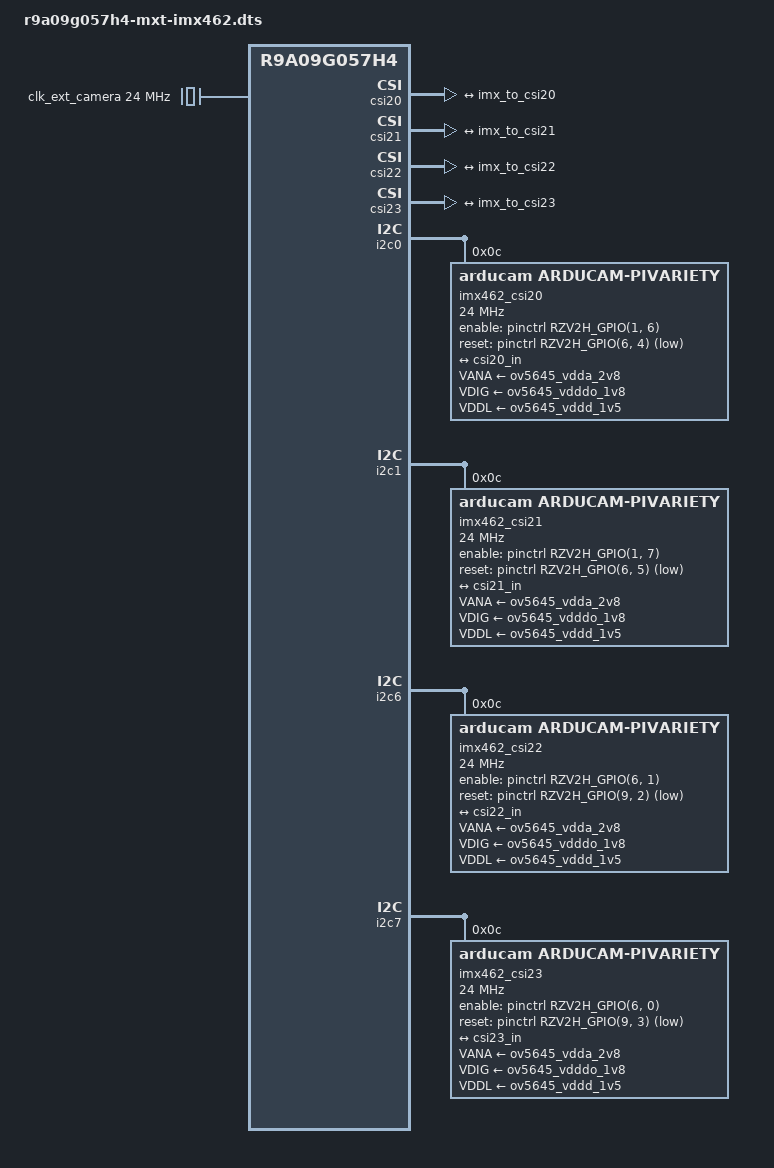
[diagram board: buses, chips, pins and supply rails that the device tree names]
// SPDX-License-Identifier: (GPL-2.0-only OR BSD-2-Clause)
/*
 * Device Tree Source for the RZ/V2H EVK MXT board variant (IMX462 camera)
 *
 * Copyright (C) 2025 Renesas Electronics Corporation
 * Copyright (C) 2024 MXT Creation SRL
 */

/dts-v1/;
#include "rzv2h-evk-ver1.dts"

/ {
	clk_ext_camera: clk_ext_camera {
		compatible = "fixed-clock";
		#clock-cells = <0>;
		clock-frequency = <24000000>;
	};
};
&csi20 {
	status = "okay";

	ports {
		port {
			csi20_in: endpoint {
				clock-lanes = <0>;
				data-lanes = <1 2>;
				remote-endpoint = <&imx_to_csi20>;
			};
		};
	};
};

&csi21 {
	status = "okay";

	ports {
		port {
			csi21_in: endpoint {
				clock-lanes = <0>;
				data-lanes = <1 2>;
				remote-endpoint = <&imx_to_csi21>;
			};
		};
	};
};

&csi22 {
	status = "okay";

	ports {
		port {
			csi22_in: endpoint {
				clock-lanes = <0>;
				data-lanes = <1 2>;
				remote-endpoint = <&imx_to_csi22>;
			};
		};
	};
};

&csi23 {
	status = "okay";

	ports {
		port {
			csi23_in: endpoint {
				clock-lanes = <0>;
				data-lanes = <1 2>;
				remote-endpoint = <&imx_to_csi23>;
			};
		};
	};
};

&i2c0 {
	pinctrl-0 = <&i2c0_pins>;
	pinctrl-names = "default";

	status = "okay";
	
	imx462_csi20: imx462_csi20@c {
		compatible = "arducam,arducam-pivariety";
		reg = <0x0C>;
		clock-names = "xclk";
		clocks = <&clk_ext_camera>;
		clock-frequency = <24000000>;
		VANA-supply = <&ov5645_vdda_2v8>;
		VDIG-supply = <&ov5645_vdddo_1v8>;
		VDDL-supply = <&ov5645_vddd_1v5>;
		
		/* Set dummy enable gpio */
		enable-gpios = <&pinctrl RZV2H_GPIO(1, 6) GPIO_ACTIVE_HIGH>;
		reset-gpios = <&pinctrl RZV2H_GPIO(6, 4) GPIO_ACTIVE_LOW>;

		port {
			imx_to_csi20: endpoint {
				clock-lanes = <0>;
				data-lanes = <1 2>;
				remote-endpoint = <&csi20_in>;
				clock-noncontinuous;
				link-frequencies = /bits/ 64 <493500000>;
			};
		};
	};
	
	/delete-node/ ov5645_csi20@3c;
};

&i2c1 {
	pinctrl-0 = <&i2c1_pins>;
	pinctrl-names = "default";

	status = "okay";
	
	imx462_csi21: imx462_csi21@c {
		compatible = "arducam,arducam-pivariety";
		reg = <0x0C>;
		clock-names = "xclk";
		clocks = <&clk_ext_camera>;
		clock-frequency = <24000000>;
		VANA-supply = <&ov5645_vdda_2v8>;
		VDIG-supply = <&ov5645_vdddo_1v8>;
		VDDL-supply = <&ov5645_vddd_1v5>;
		
		/* Set dummy enable gpio */
		enable-gpios = <&pinctrl RZV2H_GPIO(1, 7) GPIO_ACTIVE_HIGH>;
		reset-gpios = <&pinctrl RZV2H_GPIO(6, 5) GPIO_ACTIVE_LOW>;

		port {
			imx_to_csi21: endpoint {
				clock-lanes = <0>;
				data-lanes = <1 2>;
				remote-endpoint = <&csi21_in>;
				clock-noncontinuous;
				link-frequencies = /bits/ 64 <493500000>;
			};
		};
	};
	
	/delete-node/ ov5645_csi21@3c;
};

&i2c6 {
	pinctrl-0 = <&i2c6_pins>;
	pinctrl-names = "default";

	status = "okay";
	
	imx462_csi22: imx462_csi22@c {
		compatible = "arducam,arducam-pivariety";
		reg = <0x0C>;
		clock-names = "xclk";
		clocks = <&clk_ext_camera>;
		clock-frequency = <24000000>;
		VANA-supply = <&ov5645_vdda_2v8>;
		VDIG-supply = <&ov5645_vdddo_1v8>;
		VDDL-supply = <&ov5645_vddd_1v5>;
		
		enable-gpios = <&pinctrl RZV2H_GPIO(6, 1) GPIO_ACTIVE_HIGH>;
		reset-gpios = <&pinctrl RZV2H_GPIO(9, 2) GPIO_ACTIVE_LOW>;

		port {
			imx_to_csi22: endpoint {
				clock-lanes = <0>;
				data-lanes = <1 2>;
				remote-endpoint = <&csi22_in>;
				clock-noncontinuous;
				link-frequencies = /bits/ 64 <493500000>;
			};
		};
	};
	
	/delete-node/ ov5645_csi22@3c;
};

&i2c7 {
	pinctrl-0 = <&i2c7_pins>;
	pinctrl-names = "default";

	status = "okay";
	
	imx462_csi23: imx462_csi23@c {
		compatible = "arducam,arducam-pivariety";
		reg = <0x0C>;
		clock-names = "xclk";
		clocks = <&clk_ext_camera>;
		clock-frequency = <24000000>;
		VANA-supply = <&ov5645_vdda_2v8>;
		VDIG-supply = <&ov5645_vdddo_1v8>;
		VDDL-supply = <&ov5645_vddd_1v5>;
		
		enable-gpios = <&pinctrl RZV2H_GPIO(6, 0) GPIO_ACTIVE_HIGH>;
		reset-gpios = <&pinctrl RZV2H_GPIO(9, 3) GPIO_ACTIVE_LOW>;

		port {
			imx_to_csi23: endpoint {
				clock-lanes = <0>;
				data-lanes = <1 2>;
				remote-endpoint = <&csi23_in>;
				clock-noncontinuous;
				link-frequencies = /bits/ 64 <493500000>;
			};
		};
	};
	
	/delete-node/ ov5645_csi23@3c;
};

